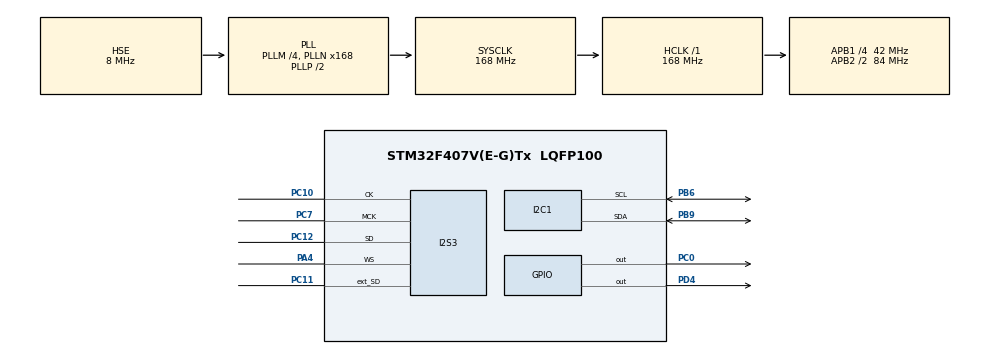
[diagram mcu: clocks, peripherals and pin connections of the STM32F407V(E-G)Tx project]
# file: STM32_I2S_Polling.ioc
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Dma.Request0=SPI3_TX
Dma.SPI3_TX.0.Direction=DMA_MEMORY_TO_PERIPH
Dma.SPI3_TX.0.FIFOMode=DMA_FIFOMODE_DISABLE
Dma.SPI3_TX.0.Instance=DMA1_Stream5
Dma.SPI3_TX.0.MemDataAlignment=DMA_MDATAALIGN_HALFWORD
Dma.SPI3_TX.0.MemInc=DMA_MINC_ENABLE
Dma.SPI3_TX.0.Mode=DMA_CIRCULAR
Dma.SPI3_TX.0.PeriphDataAlignment=DMA_PDATAALIGN_HALFWORD
Dma.SPI3_TX.0.PeriphInc=DMA_PINC_DISABLE
Dma.SPI3_TX.0.Priority=DMA_PRIORITY_MEDIUM
I2S3.AudioFreq=I2S_AUDIOFREQ_96K
I2S3.ErrorAudioFreq=-2.34 %
I2S3.FullDuplexMode=I2S_FULLDUPLEXMODE_ENABLE
I2S3.Instance=SPI$Index
I2S3.RealAudioFreq=93.75 KHz
I2S3.VirtualMode=I2S_MODE_MASTER
Mcu.Family=STM32F4
Mcu.Name=STM32F407V(E-G)Tx
Mcu.Package=LQFP100
NVIC.DMA1_Stream5_IRQn=true\:0\:0\:false\:false\:true\:false\:true\:true
NVIC.PriorityGroup=NVIC_PRIORITYGROUP_4
NVIC.SPI3_IRQn=true\:0\:0\:false\:false\:true\:true\:true\:true
PA4.GPIO_Speed=GPIO_SPEED_FREQ_VERY_HIGH
PA4.Mode=Full_Duplex_Master
PA4.Signal=I2S3_WS
PB6.Mode=I2C
PB6.Signal=I2C1_SCL
PB9.Mode=I2C
PB9.Signal=I2C1_SDA
PC0.Signal=GPIO_Output
PC10.GPIO_Speed=GPIO_SPEED_FREQ_VERY_HIGH
PC10.Mode=Full_Duplex_Master
PC10.Signal=I2S3_CK
PC11.GPIO_Speed=GPIO_SPEED_FREQ_VERY_HIGH
PC11.Mode=Full_Duplex_Master
PC11.Signal=I2S3_ext_SD
PC12.GPIO_Speed=GPIO_SPEED_FREQ_VERY_HIGH
PC12.Mode=Full_Duplex_Master
PC12.Signal=I2S3_SD
PC7.GPIO_Speed=GPIO_SPEED_FREQ_VERY_HIGH
PC7.Mode=Master_Clock_Activated
PC7.Signal=I2S3_MCK
PD4.Signal=GPIO_Output
PH0-OSC_IN.Mode=HSE-External-Oscillator
PH0-OSC_IN.Signal=RCC_OSC_IN
PH1-OSC_OUT.Mode=HSE-External-Oscillator
PH1-OSC_OUT.Signal=RCC_OSC_OUT
ProjectManager.HeapSize=0x200
ProjectManager.StackSize=0x400
ProjectManager.TargetToolchain=STM32CubeIDE
RCC.48MHZClocksFreq_Value=84000000
RCC.AHBFreq_Value=168000000
RCC.APB1CLKDivider=RCC_HCLK_DIV4
RCC.APB1Freq_Value=42000000
RCC.APB1TimFreq_Value=84000000
RCC.APB2CLKDivider=RCC_HCLK_DIV2
RCC.APB2Freq_Value=84000000
RCC.APB2TimFreq_Value=168000000
RCC.CortexFreq_Value=168000000
RCC.HCLKFreq_Value=168000000
RCC.HSE_VALUE=8000000
RCC.HSI_VALUE=16000000
RCC.LSE_VALUE=32768
RCC.PLLM=4
RCC.PLLN=168
RCC.PLLSourceVirtual=RCC_PLLSOURCE_HSE
RCC.SYSCLKFreq_VALUE=168000000
RCC.SYSCLKSource=RCC_SYSCLKSOURCE_PLLCLK
RCC.VCOOutputFreq_Value=336000000
board=custom

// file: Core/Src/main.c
/* USER CODE BEGIN Header */
/**
  ******************************************************************************
  * @file           : main.c
  * @brief          : Main program body
  ******************************************************************************
  * @attention
  *
  * Copyright (c) 2026 STMicroelectronics.
  * All rights reserved.
  *
  * This software is licensed under terms that can be found in the LICENSE file
  * in the root directory of this software component.
  * If no LICENSE file comes with this software, it is provided AS-IS.
  *
  ******************************************************************************
  */
/* USER CODE END Header */
#include "main.h"
#include "dma.h"
#include "i2c.h"
#include "i2s.h"
#include "gpio.h"

/* USER CODE BEGIN Includes */
#include "math.h"
#include "CS43L22.h"
/* USER CODE END Includes */

/* USER CODE BEGIN PD */
//#define dataSize 100
//
#define F_SAMPLE	96000.0f
#define F_OUT		4000.0f
#define PI 			3.14159f

#define SAMPLES_PER_CYCLE	(F_SAMPLE / F_OUT)  // 24.0
#define NUM_CYCLES			10
#define BUFFER_SIZE			((int)(SAMPLES_PER_CYCLE * NUM_CYCLES) * 2)  // *2 for stereo

uint16_t dataI2S[BUFFER_SIZE];  // 480 elements for 10 cycles

float phase_increment = 2.0f * PI / SAMPLES_PER_CYCLE;
float current_phase = 0.0f;

/* USER CODE END PD */

/* USER CODE BEGIN PV */

//uint16_t dataI2S[dataSize];
//float mySinVal;
//float sample_dt;
//uint16_t sample_N;
//uint16_t i_t;
/* USER CODE END PV */

void SystemClock_Config(void);

/* USER CODE BEGIN 0 */

void HAL_I2S_TxCpltCallback(I2S_HandleTypeDef *hi2s)
{
	if(hi2s->Instance==SPI3)
	{
		/*For debugging using oscilloscope*/
		HAL_GPIO_TogglePin(GPIOC, GPIO_PIN_0);
	}

}

/* USER CODE END 0 */

int main(void)
{

  /* MCU Configuration--------------------------------------------------------*/

  /* Reset of all peripherals, Initializes the Flash interface and the Systick. */
  HAL_Init();

  /* Configure the system clock */
  SystemClock_Config();

  /* Initialize all configured peripherals */
  MX_GPIO_Init();
  MX_DMA_Init();
  MX_I2S3_Init();
  MX_I2C1_Init();
  /* USER CODE BEGIN 2 */
	CS43_Init(CS43L22_MODE_I2S);
	CS43_SetVolume(100);
	CS43_Enable_RightLeft(CS43_RIGHT_LEFT);
	CS43_Start();

	float phase_increment = 2.0f * PI / SAMPLES_PER_CYCLE;
	float current_phase = 0.0f;

	for(uint16_t i=0; i<BUFFER_SIZE/2; i++)  // 240 stereo pairs
	{
	    float mySinVal = sinf(current_phase);

	    // Scale to 16-bit signed range
	    int16_t right_value = (int16_t)(mySinVal * 32000.0f);
	    int16_t left_value = -right_value;  // Inverted signal

	    dataI2S[i*2] = right_value;      // Right channel
	    dataI2S[i*2 + 1] = left_value;   // Left channel (inverted)

	    current_phase += phase_increment;

	    // Keep phase in 0 to 2*PI range to prevent floating point drift
	    if(current_phase >= 2.0f * PI) {
	        current_phase -= 2.0f * PI;
	    }
	}

	HAL_I2S_Transmit_DMA(&hi2s3, dataI2S, BUFFER_SIZE);

  /* USER CODE END 2 */

  /* Infinite loop */
  while (1)
  {

    /* USER CODE BEGIN 3 */
	  //tempData[0]=0xFFFF;
	  //tempData[1]=0xBEEF;
	  //tempData[2]=0xDEAD;
	  //HAL_I2S_Transmit(&hi2s3, tempData, 3,10);
	  HAL_Delay(10);
//	  for (int i=0;i<65535;i++)
//	  {
//
//		  HAL_I2S_Transmit(&hi2s3, tempData, 2,10);
//		  HAL_Delay(1);
//	  }

	  //HAL_I2S_Transmit(&hi2s3, dataI2S, sample_N, 1000);
  }

  /* USER CODE END 3 */
}

void SystemClock_Config(void)
{
  RCC_OscInitTypeDef RCC_OscInitStruct = {0};
  RCC_ClkInitTypeDef RCC_ClkInitStruct = {0};

  /** Configure the main internal regulator output voltage
  */
  __HAL_RCC_PWR_CLK_ENABLE();
  __HAL_PWR_VOLTAGESCALING_CONFIG(PWR_REGULATOR_VOLTAGE_SCALE1);

  /** Initializes the RCC Oscillators according to the specified parameters
  * in the RCC_OscInitTypeDef structure.
  */
  RCC_OscInitStruct.OscillatorType = RCC_OSCILLATORTYPE_HSE;
  RCC_OscInitStruct.HSEState = RCC_HSE_ON;
  RCC_OscInitStruct.PLL.PLLState = RCC_PLL_ON;
  RCC_OscInitStruct.PLL.PLLSource = RCC_PLLSOURCE_HSE;
  RCC_OscInitStruct.PLL.PLLM = 4;
  RCC_OscInitStruct.PLL.PLLN = 168;
  RCC_OscInitStruct.PLL.PLLP = RCC_PLLP_DIV2;
  RCC_OscInitStruct.PLL.PLLQ = 4;
  if (HAL_RCC_OscConfig(&RCC_OscInitStruct) != HAL_OK)
  {
    Error_Handler();
  }

  /** Initializes the CPU, AHB and APB buses clocks
  */
  RCC_ClkInitStruct.ClockType = RCC_CLOCKTYPE_HCLK|RCC_CLOCKTYPE_SYSCLK
                              |RCC_CLOCKTYPE_PCLK1|RCC_CLOCKTYPE_PCLK2;
  RCC_ClkInitStruct.SYSCLKSource = RCC_SYSCLKSOURCE_PLLCLK;
  RCC_ClkInitStruct.AHBCLKDivider = RCC_SYSCLK_DIV1;
  RCC_ClkInitStruct.APB1CLKDivider = RCC_HCLK_DIV4;
  RCC_ClkInitStruct.APB2CLKDivider = RCC_HCLK_DIV2;

  if (HAL_RCC_ClockConfig(&RCC_ClkInitStruct, FLASH_LATENCY_5) != HAL_OK)
  {
    Error_Handler();
  }
}

void Error_Handler(void)
{
  __disable_irq();
  while (1)
  {
  }
}
